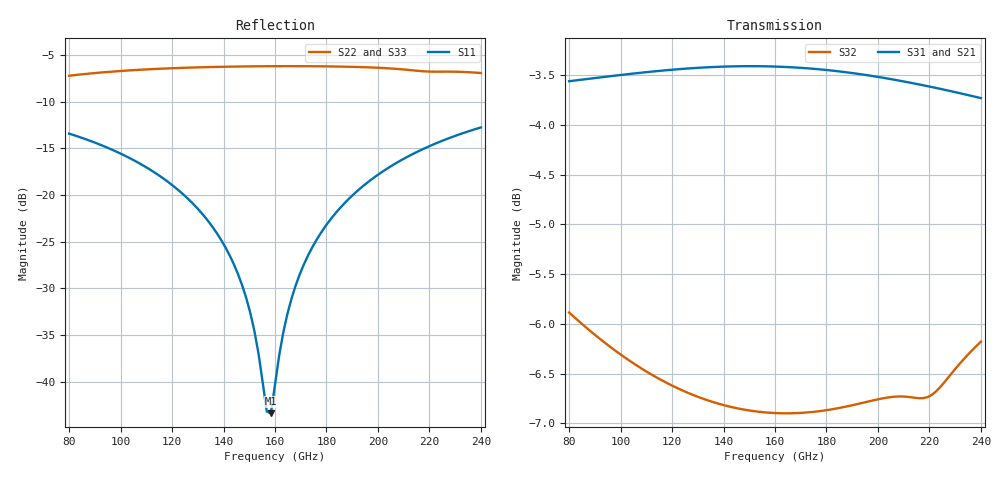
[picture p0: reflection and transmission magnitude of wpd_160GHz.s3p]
#  GHZ S DB R 50
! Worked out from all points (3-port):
!   101 points, 80 GHz to 240 GHz, reference 50 ohm
!   strongest paths, dB at 80 GHz, 120 GHz, 160 GHz, 200 GHz, 240 GHz:
!     S31: -3.6, -3.4, -3.4, -3.5, -3.7
!     S21: -3.6, -3.5, -3.4, -3.5, -3.7
!     S32: -5.9, -6.6, -6.9, -6.8, -6.2
!   lowest |S11| = -43.4 dB at 158.4 GHz (marker M1), VSWR 1.01, Z = 50.6 - j0.247 ohm
!   |S11| at or under -10 dB: start of sweep to end of sweep
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80  -13.42 132.5  -3.57 -44.2  -3.56 -44.2
    -3.57 -44.2  -7.22 50.5  -5.89 -97.5
    -3.56 -44.2  -5.89 -97.5  -7.25 50.4
113.6  -17.66 112.0  -3.47 -63.4  -3.46 -63.4
       -3.47 -63.4  -6.50 24.2  -6.53 -132.5
       -3.46 -63.4  -6.53 -132.5  -6.53 24.1
136  -23.52 96.2  -3.43 -76.5  -3.42 -76.5
     -3.43 -76.5  -6.29 9.7  -6.79 -155.0
     -3.42 -76.5  -6.79 -155.0  -6.31 9.7
148.8  -31.00 81.0  -3.42 -84.0  -3.41 -84.0
       -3.42 -84.0  -6.23 2.0  -6.87 -167.7
       -3.41 -84.0  -6.87 -167.7  -6.25 2.0
156.8  -43.17 22.3  -3.43 -88.8  -3.41 -88.8
       -3.43 -88.8  -6.21 -2.7  -6.89 -175.7
       -3.41 -88.8  -6.89 -175.7  -6.23 -2.7
158.4  -43.37 -21.0  -3.43 -89.7  -3.41 -89.7
       -3.43 -89.7  -6.21 -3.6  -6.90 -177.3
       -3.41 -89.7  -6.90 -177.3  -6.23 -3.6
160  -40.30 -51.0  -3.43 -90.6  -3.41 -90.7
     -3.43 -90.6  -6.20 -4.5  -6.90 -178.9
     -3.41 -90.7  -6.90 -178.9  -6.23 -4.6
168  -29.71 -85.9  -3.44 -95.4  -3.42 -95.4
     -3.44 -95.4  -6.20 -9.2  -6.90 173.1
     -3.42 -95.4  -6.90 173.1  -6.23 -9.2
182.4  -22.32 -100.9  -3.47 -103.9  -3.46 -103.9
       -3.47 -103.9  -6.23 -17.7  -6.86 158.6
       -3.46 -103.9  -6.86 158.6  -6.25 -17.7
240  -12.76 -137.3  -3.74 -137.3  -3.73 -137.4
     -3.74 -137.3  -6.94 -55.4  -6.18 100.3
     -3.73 -137.4  -6.18 100.3  -6.94 -55.6
